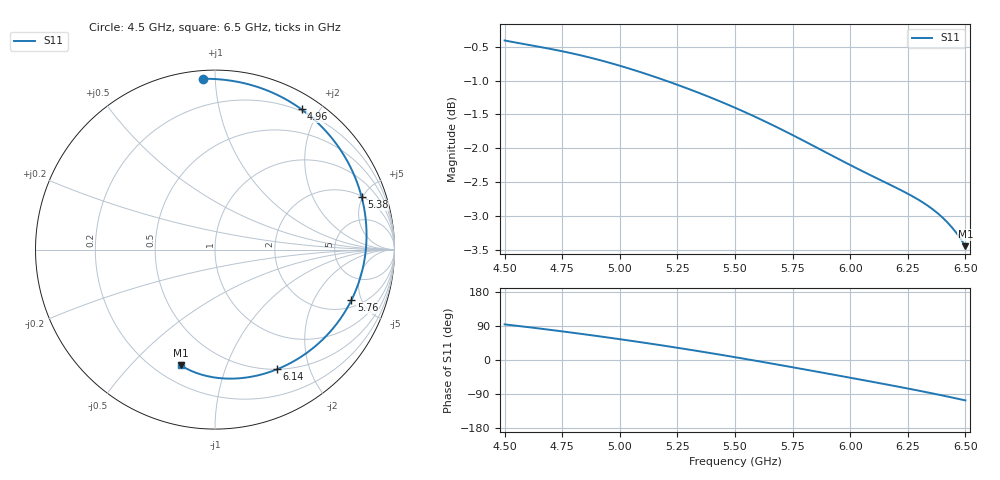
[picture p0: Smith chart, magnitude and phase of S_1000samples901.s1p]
! TOUCHSTONE file generated by CST MICROWAVE STUDIO
! Date and time: Sat Oct 29 18:09:46 2022
! Project name: L.cst
! Parameters = {Di=1.27; Epsilon_r=1.56; InnerDiameter=1.27; Length=2; Lf=10; Lg=60; OuterConductorThickness=0.2921; OuterDiameter=3.6; Wf=3; Wp=41.2; de=1.5; df=6.8; g=0.8; gx=2.84169; gy=4.14444; h=2.34; hf=1.524; px=10.4704; py=13.4206; w=9.7; wx=7.62873; wy=9.2762}
! Header version: 2018
! Port assignment regex: !\s*Touchstone port\s*([0-9]+)\s*=\s*(CST MWS port|CST DS port)\s*([0-9]+|Zmin|Zmax)\s*\(\"(.*)\"\)(\s*mode\s*([0-9]+))?.*
! Touchstone port assignment:
! Touchstone port 1 = CST MWS port 1 ("")
# GHz S DB R 50
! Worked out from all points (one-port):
!   101 points, 4.5 GHz to 6.5 GHz, reference 50 ohm
!   lowest |S11| = -3.4 dB at 6.5 GHz (marker M1), VSWR 5.10, Z = 14.9 - j35.1 ohm
!   |S11| at or under -10 dB: nowhere
!   S11 on the Smith chart (normalised r, x): 4.5 GHz: 0.04, +0.93; 4.96 GHz: 0.18, +1.78; 5.38 GHz: 2.09, +4.93; 5.76 GHz: 2.52, -4.12; 6.14 GHz: 0.50, -1.53; 6.5 GHz: 0.30, -0.70
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4.5  -0.41 94.0
4.64  -0.49 83.9
4.76  -0.57 74.7
4.86  -0.65 66.7
4.96  -0.74 58.3
5  -0.78 54.9
5.12  -0.91 44.3
5.2  -1.00 36.9
5.26  -1.08 31.3
5.32  -1.15 25.5
5.38  -1.23 19.6
5.44  -1.31 13.6
5.5  -1.40 7.4
5.56  -1.49 1.2
5.62  -1.59 -5.2
5.68  -1.69 -11.6
5.76  -1.82 -20.3
5.82  -1.93 -26.8
5.88  -2.04 -33.5
6  -2.25 -46.8
6.08  -2.39 -55.8
6.14  -2.49 -62.6
6.2  -2.59 -69.4
6.26  -2.69 -76.5
6.32  -2.81 -83.7
6.38  -2.96 -91.1
6.44  -3.16 -98.7
6.5  -3.45 -106.6
